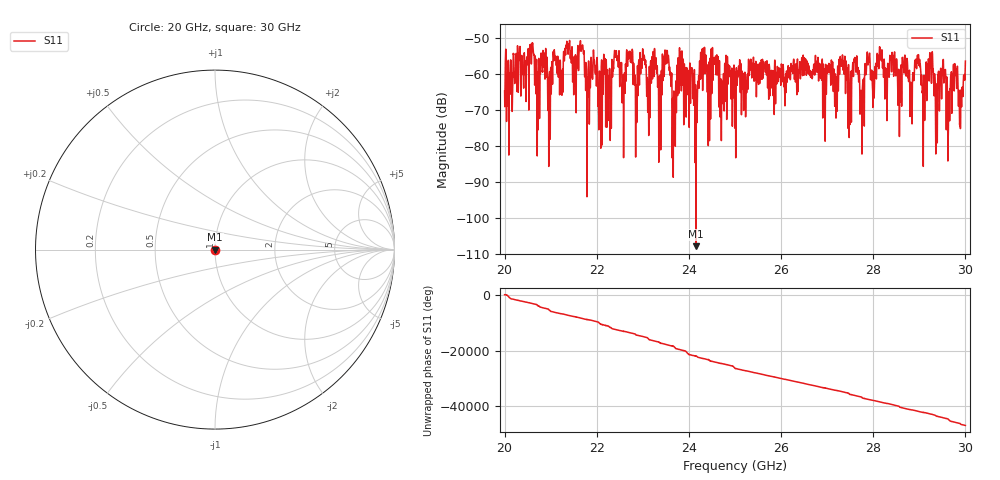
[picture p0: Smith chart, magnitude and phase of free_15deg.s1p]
#  HZ  S  RI  R  50.00
! Rohde & Schwarz ZVA40 4Ports - Version 3.90 - 1145.1110k42 SN: 100403
! Date: 2023-09-30 05:59:59
! Measurement: S12
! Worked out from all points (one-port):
!   5001 points, 20 GHz to 30 GHz, reference 50 ohm
!   lowest |S11| = -107.7 dB at 24.16 GHz (marker M1), VSWR 1.00, Z = 50 - j0.00041 ohm
!   |S11| at or under -10 dB: start of sweep to end of sweep
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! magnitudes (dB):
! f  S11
! 20 GHz  -64.7
! 20.59 GHz  -53.8
! 20.72 GHz  -63.1
! 21.25 GHz  -61.8
! 21.37 GHz  -52.9
! 22.07 GHz  -61.9
! 22.5 GHz  -61.6
! 22.73 GHz  -56.2
! 22.85 GHz  -63.2
! 23.01 GHz  -54.6
! 23.11 GHz  -64.1
! 23.24 GHz  -59.8
! 23.37 GHz  -67.7
! 23.52 GHz  -56.5
! 23.68 GHz  -74.4
! 23.75 GHz  -61.6
! 24.16 GHz  -107.7
! 24.3 GHz  -64.6
! 25 GHz  -61.9
! 26.25 GHz  -59.5
! 27.5 GHz  -68.5
! 28.75 GHz  -60.1
! 29.09 GHz  -67.4
! 29.24 GHz  -55.8
! 29.63 GHz  -77.2
! 29.78 GHz  -60.0
! 29.9 GHz  -70.5
! 30 GHz  -56.5
